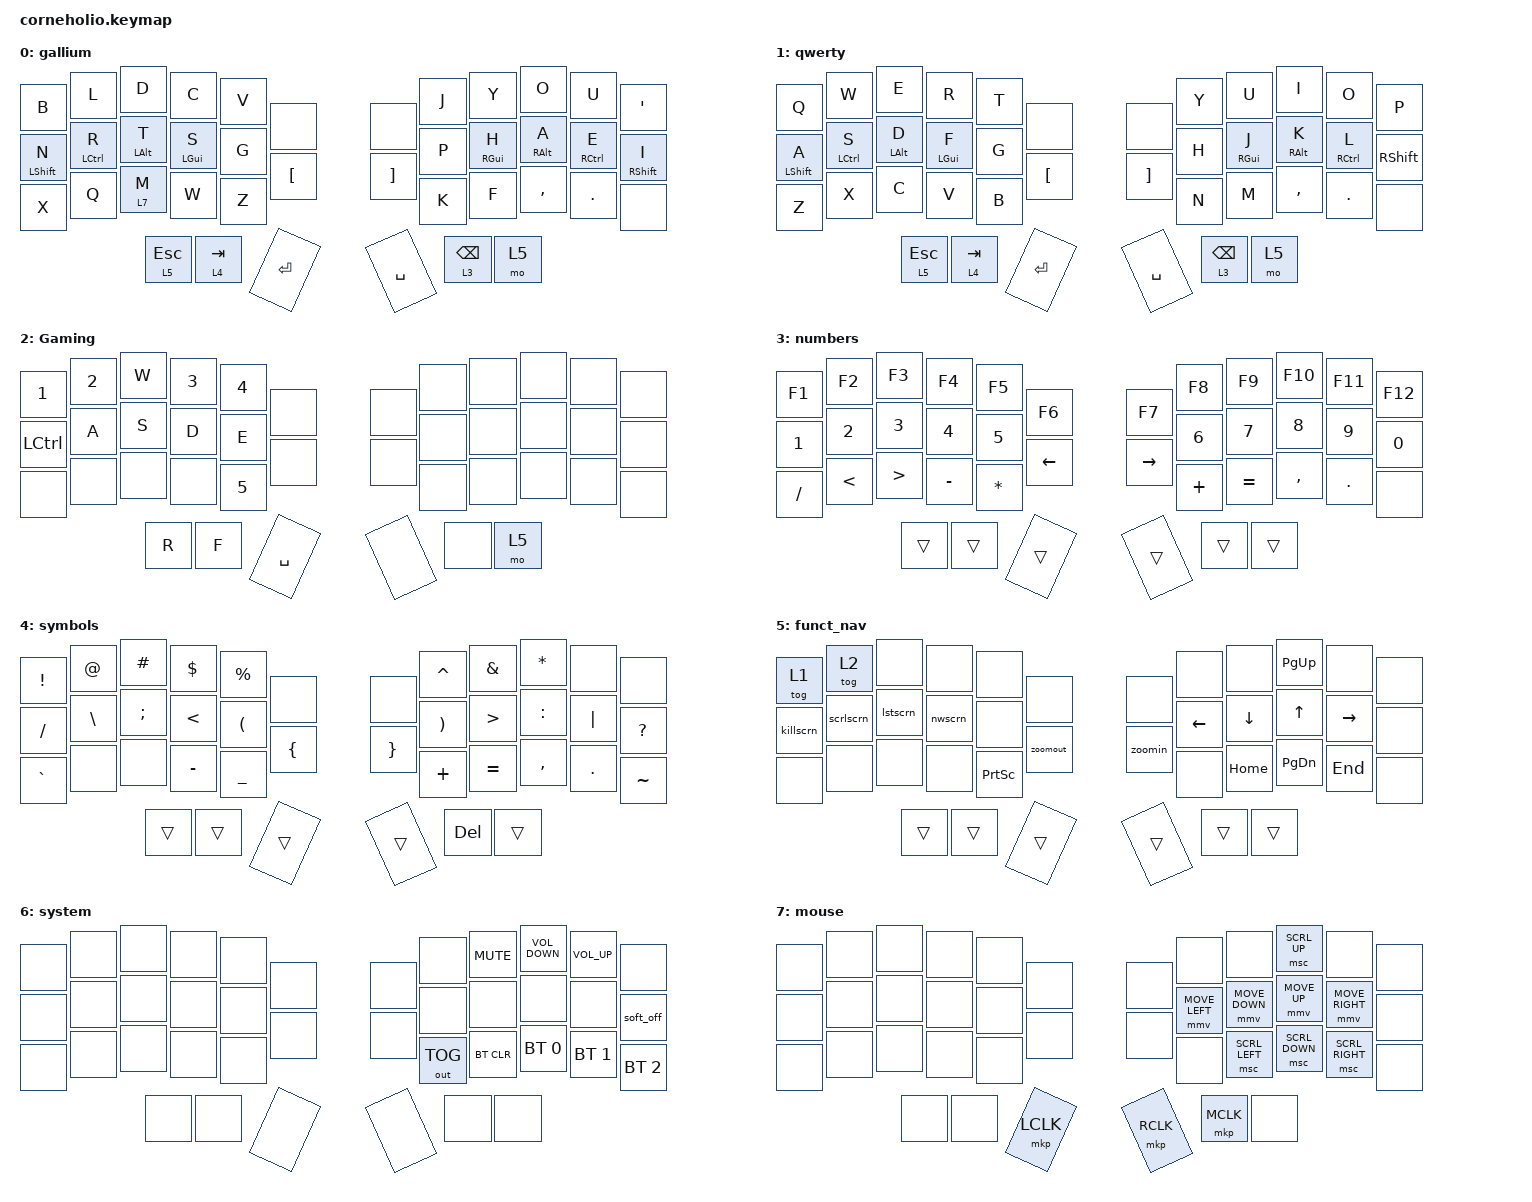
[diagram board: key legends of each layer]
#define ZMK_POINTING_DEFAULT_MOVE_VAL 1200  // default: 600

#include <behaviors.dtsi>
#include <dt-bindings/zmk/bt.h>
#include <dt-bindings/zmk/keys.h>
#include <dt-bindings/zmk/outputs.h>
#include <dt-bindings/zmk/pointing.h>

&soft_off {
    hold-time-ms = <5000>;

    /delete-property/ split-peripheral-off-on-press;
};

&mt {
    flavor = "tap-preferred";
    tapping-term-ms = <200>;
    quick-tap-ms = <175>;
    require-prior-idle-ms = <100>;
};

&lt {
    tapping-term-ms = <200>;
    quick-tap-ms = <175>;
    require-prior-idle-ms = <100>;
    flavor = "tap-preferred";
};

/ {
    macros {
        nwscrn: nwscrn {
            compatible = "zmk,behavior-macro";
            #binding-cells = <0>;
            bindings =
                <&macro_press>,
                <&kp LEFT_CONTROL>,
                <&macro_tap>,
                <&kp A>,
                <&macro_release>,
                <&kp LEFT_CONTROL>,
                <&macro_tap>,
                <&kp C>;

            label = "NWSCRN";
            wait-ms = <80>;
            tap-ms = <5>;
        };

        lstscrn: lstscrn {
            compatible = "zmk,behavior-macro";
            #binding-cells = <0>;
            bindings =
                <&macro_press>,
                <&kp LEFT_CONTROL>,
                <&macro_tap>,
                <&kp A>,
                <&macro_release>,
                <&kp LEFT_CONTROL>,
                <&macro_tap>,
                <&kp DOUBLE_QUOTES>;

            label = "LSTSCRN";
            wait-ms = <80>;
            tap-ms = <5>;
        };

        scrlscrn: scrlscrn {
            compatible = "zmk,behavior-macro";
            #binding-cells = <0>;
            bindings =
                <&macro_press>,
                <&kp LEFT_CONTROL>,
                <&macro_tap>,
                <&kp A>,
                <&macro_release>,
                <&kp LEFT_CONTROL>,
                <&macro_tap>,
                <&kp LEFT_BRACKET>;

            label = "SCRLSCRN";
            wait-ms = <80>;
            tap-ms = <5>;
        };

        killscrn: killscrn {
            compatible = "zmk,behavior-macro";
            #binding-cells = <0>;
            bindings =
                <&macro_press>,
                <&kp LEFT_CONTROL>,
                <&macro_tap>,
                <&kp A>,
                <&macro_release>,
                <&kp LEFT_CONTROL>,
                <&macro_tap>,
                <&kp K>;

            label = "KILLSCRN";
            wait-ms = <80>;
            tap-ms = <5>;
        };

        prntscrn: prntscrn {
            compatible = "zmk,behavior-macro";
            #binding-cells = <0>;
            bindings = <&kp LS(LG(NUMBER_4))>;
            label = "PRNTSCRN";
        };

        zoomin: zoomin {
            compatible = "zmk,behavior-macro";
            #binding-cells = <0>;
            bindings = <&kp LG(EQUAL)>;
            label = "ZOOMIN";
        };

        zoomout: zoomout {
            compatible = "zmk,behavior-macro";
            #binding-cells = <0>;
            bindings = <&kp LG(MINUS)>;
            label = "ZOOMOUT";
        };
    };

    combos {
        compatible = "zmk,combos";

        stdio_unlock {
            bindings = <&studio_unlock>;
            key-positions = <36 37>;
        };

        lkb_bootloader {
            bindings = <&bootloader>;
            key-positions = <5 17>;
        };

        rkb_bootloader {
            bindings = <&bootloader>;
            key-positions = <6 18>;
        };

        clipboard {
            bindings = <&kp LA(LG(C))>;
            key-positions = <3 2>;
        };
    };

    behaviors {
        hml: hml {
            compatible = "zmk,behavior-hold-tap";
            label = "Left Home Row Mod";
            bindings = <&kp>, <&kp>;

            #binding-cells = <2>;
            tapping-term-ms = <200>;
            quick-tap-ms = <150>;
            require-prior-idle-ms = <175>;
            flavor = "balanced";
            hold-trigger-key-positions = <6 18 29 19 7 8 20 30 31 21 9 10 22 32 33 23 11 39 38 37 36 35 34>;
            hold-trigger-on-release;
        };

        hmr: hmr {
            compatible = "zmk,behavior-hold-tap";
            label = "Right Home Row Mod";
            bindings = <&kp>, <&kp>;

            #binding-cells = <2>;
            tapping-term-ms = <200>;
            quick-tap-ms = <150>;
            require-prior-idle-ms = <175>;
            flavor = "balanced";
            hold-trigger-key-positions = <0 12 24 25 13 1 2 14 26 27 15 3 4 16 28 17 5 34 35 36 37 38 39>;
            hold-trigger-on-release;
        };
    };

    keymap {
        compatible = "zmk,keymap";

        gallium {
            bindings = <
&kp B              &kp L                &kp D            &kp C            &kp V      &none             &none              &kp J            &kp Y             &kp O             &kp U                 &kp SQT
&hml LEFT_SHIFT N  &hml LEFT_CONTROL R  &hml LEFT_ALT T  &hml LEFT_GUI S  &kp G      &kp LEFT_BRACKET  &kp RIGHT_BRACKET  &kp P            &hmr RIGHT_GUI H  &hmr RIGHT_ALT A  &hmr RIGHT_CONTROL E  &hmr RIGHT_SHIFT I
&kp X              &kp Q                &lt 7 M          &kp W            &kp Z                                           &kp K            &kp F             &kp COMMA         &kp DOT               &none
                                                         &lt 5 ESC        &lt 4 TAB  &kp ENTER         &kp SPACE          &lt 3 BACKSPACE  &mo 5
            >;
        };

        qwerty {
            bindings = <
&kp Q              &kp W                &kp E            &kp R         &kp T      &none             &none              &kp Y            &kp U             &kp I             &kp O                 &kp P
&hml LEFT_SHIFT A  &hml LEFT_CONTROL S  &hml LEFT_ALT D  &hml LGUI F   &kp G      &kp LEFT_BRACKET  &kp RIGHT_BRACKET  &kp H            &hmr RIGHT_GUI J  &hmr RIGHT_ALT K  &hmr RIGHT_CONTROL L  &kp RIGHT_SHIFT
&kp Z              &kp X                &kp C            &kp V         &kp B                                           &kp N            &kp M             &kp COMMA         &kp DOT               &none
                                                         &lt 5 ESCAPE  &lt 4 TAB  &kp ENTER         &kp SPACE          &lt 3 BACKSPACE  &mo 5
            >;
        };

        Gaming {
            bindings = <
&kp NUMBER_1      &kp NUMBER_2  &kp W  &kp NUMBER_3  &kp NUMBER_4  &none      &none  &none  &none  &none  &none  &none
&kp LEFT_CONTROL  &kp A         &kp S  &kp D         &kp E         &none      &none  &none  &none  &none  &none  &none
&none             &none         &none  &none         &kp N5                          &none  &none  &none  &none  &none
                                       &kp R         &kp F         &kp SPACE  &none  &none  &mo 5
            >;
        };

        numbers {
            bindings = <
&kp F1        &kp F2         &kp F3            &kp F4        &kp F5     &kp F6    &kp F7     &kp F8        &kp F9     &kp F10    &kp F11     &kp F12
&kp NUMBER_1  &kp NUMBER_2   &kp NUMBER_3      &kp NUMBER_4  &kp N5     &kp LEFT  &kp RIGHT  &kp NUMBER_6  &kp N7     &kp N8     &kp N9      &kp N0
&kp SLASH     &kp LESS_THAN  &kp GREATER_THAN  &kp MINUS     &kp ASTRK                       &kp PLUS      &kp EQUAL  &kp COMMA  &kp PERIOD  &none
                                               &trans        &trans     &trans    &trans     &trans        &trans
            >;
        };

        symbols {
            bindings = <
&kp EXCL   &kp AT         &kp HASH  &kp DOLLAR     &kp PERCENT           &none           &none            &kp CARET              &kp AMPS          &kp STAR   &none       &none
&kp SLASH  &kp BACKSLASH  &kp SEMI  &kp LESS_THAN  &kp LEFT_PARENTHESIS  &kp LEFT_BRACE  &kp RIGHT_BRACE  &kp RIGHT_PARENTHESIS  &kp GREATER_THAN  &kp COLON  &kp PIPE    &kp QUESTION
&kp GRAVE  &none          &none     &kp MINUS      &kp UNDER                                              &kp PLUS               &kp EQUAL         &kp COMMA  &kp PERIOD  &kp TILDE
                                    &trans         &trans                &trans          &trans           &kp DEL                &trans
            >;
        };

        funct_nav {
            bindings = <
&tog 1     &tog 2     &none     &none    &none            &none     &none    &none     &none     &kp PAGE_UP    &none      &none
&killscrn  &scrlscrn  &lstscrn  &nwscrn  &none            &zoomout  &zoomin  &kp LEFT  &kp DOWN  &kp UP_ARROW   &kp RIGHT  &none
&none      &none      &none     &none    &kp PRINTSCREEN                     &none     &kp HOME  &kp PAGE_DOWN  &kp END    &none
                                &trans   &trans           &trans    &trans   &trans    &trans
            >;
        };

        system {
            bindings = <
&none  &none  &none  &none  &none  &none  &none  &none         &kp K_MUTE  &kp C_VOLUME_DOWN  &kp C_VOLUME_UP  &none
&none  &none  &none  &none  &none  &none  &none  &none         &none       &none              &none            &soft_off
&none  &none  &none  &none  &none                &out OUT_TOG  &bt BT_CLR  &bt BT_SEL 0       &bt BT_SEL 1     &bt BT_SEL 2
                     &none  &none  &none  &none  &none         &none
            >;
        };

        mouse {
            bindings = <
&none  &none  &none  &none  &none  &none      &none      &none           &none           &msc SCRL_UP    &none            &none
&none  &none  &none  &none  &none  &none      &none      &mmv MOVE_LEFT  &mmv MOVE_DOWN  &mmv MOVE_UP    &mmv MOVE_RIGHT  &none
&none  &none  &none  &none  &none                        &none           &msc SCRL_LEFT  &msc SCRL_DOWN  &msc SCRL_RIGHT  &none
                     &none  &none  &mkp LCLK  &mkp RCLK  &mkp MCLK       &none
            >;
        };
    };

    conditional_layers {
        compatible = "zmk,conditional-layers";

        secret_layer {
            if-layers = <4 5>;
            then-layer = <6>;
        };
    };
};
